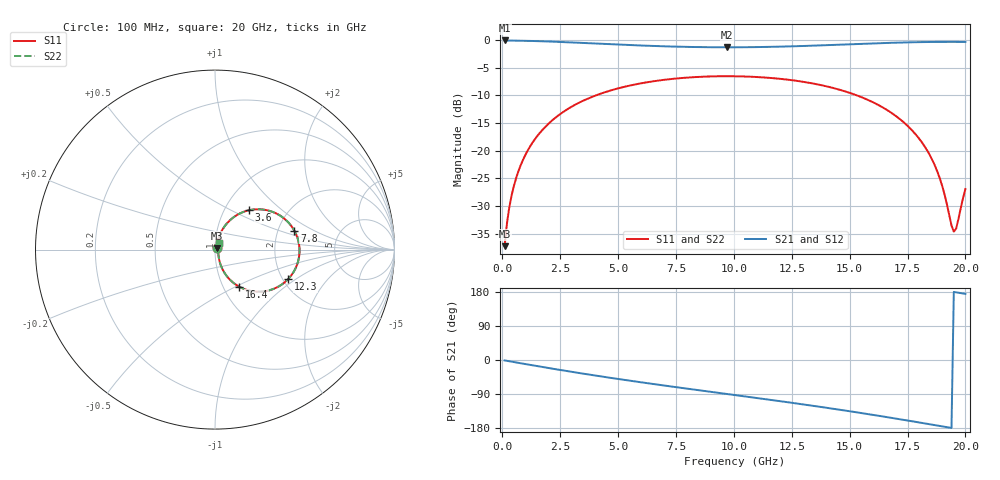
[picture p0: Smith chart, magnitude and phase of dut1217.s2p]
! Touchstone file exported from HFSS 2026.1.0
!  File:  C:/ffzhzh/LocalFiles/Ansys_Project_Files/temp_train_TSV_RDL_1217_1783320607_5512.aedt
!  Generated:  02:59:21 PM Jul  6, 2026
!  Design:  TSV_RDL
!  Project:  temp_train_TSV_RDL_1217_1783320607_5512
! Variables:
!  h_bsmrdl = 5.6um
!  h_ox = 20um
!  h_rdl = 5um
!  h_sub = 66.59um
!  h_tmrdl = 5.47um
!  h_tsv = 66.59um
!  h_via = 3um
!  l_bsmrdl = 706.01um
!  l_sub = 3226.93um
!  l_tmrdl = 142.29um
!  m_sub = 200um
!  pitch = 46.47um
!  r_tsv = 8.86um
!  s_tmrdl = 10um
!  w_bsmrdl = 20.69um
!  w_sub = 500um
!  w_tmrdl = 25.89um
!  x_tsv_center1 = 155.235um
!  x_tsv_center2 = 881.935um
!  x_tsv_center3 = 1050.115um
!  x_tsv_center4 = 1776.815um
!  x_tsv_center5 = 1944.995um
!  x_tsv_center6 = 2671.695um
# GHz S MA R 50.000000
! Terminal data exported
! Port[1] = TM_RDL1_1_T1
! Port[2] = TM_RDL5_1_T1
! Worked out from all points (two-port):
!   200 points, 100 MHz to 20 GHz, reference 50 ohm
!   highest |S21| = -0.08 dB at 100 MHz (marker M1); lowest = -1.3 dB at 9.7 GHz (marker M2)
!   |S21| within 3 dB of the highest: start of sweep to end of sweep
!   lowest |S11| = -37.2 dB at 100 MHz (marker M3), VSWR 1.03, Z = 51 + j0.996 ohm
!   |S11| at or under -10 dB: start of sweep to 4.048 GHz; 15.31 GHz to end of sweep
!   |S22| runs from -37.2 to -6.5 dB; largest |S21 - S12| = 5e-14
!   S11 on the Smith chart (normalised r, x): 100 MHz: 1.02, +0.02; 3.6 GHz: 1.30, +0.62; 7.8 GHz: 2.46, +0.66; 12.3 GHz: 2.13, -0.87; 16.4 GHz: 1.19, -0.53; 20 GHz: 1.04, +0.08
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0.1  0.01373 45.3  0.9905 -1.1  0.9905 -1.1  0.01373 45.3
! Gamma 0 0 0 0
! Port Impedance 50 0 50 0
0.3  0.03056 66.5  0.989 -3.3  0.989 -3.3  0.03056 66.5
0.5  0.04803 71.0  0.9876 -5.4  0.9876 -5.4  0.04803 71.0
0.8  0.0744 72.1  0.9852 -8.6  0.9852 -8.6  0.0744 72.1
1.1  0.1006 71.0  0.9822 -11.8  0.9822 -11.8  0.1006 70.9
2.1  0.1837 63.0  0.9677 -22.2  0.9677 -22.2  0.1837 63.0
3.5  0.2832 50.1  0.9401 -36.1  0.9401 -36.1  0.2832 50.1
3.6  0.2895 49.2  0.938 -37.1  0.938 -37.1  0.2895 49.2
6.8  0.4318 21.6  0.8793 -65.8  0.8793 -65.8  0.4318 21.6
7.8  0.4544 13.5  0.868 -74.1  0.868 -74.1  0.4544 13.5
9.7  0.471 -1.5  0.8591 -89.7  0.8591 -89.7  0.471 -1.5
10.1  0.4703 -4.6  0.8594 -93.0  0.8594 -93.0  0.4703 -4.6
12.3  0.4389 -22.1  0.8741 -111.2  0.8741 -111.2  0.4389 -22.1
13.4  0.4053 -31.2  0.8885 -120.7  0.8885 -120.7  0.4052 -31.2
16.4  0.2481 -56.7  0.9375 -148.6  0.9375 -148.6  0.248 -56.7
16.7  0.2273 -59.2  0.9419 -151.6  0.9419 -151.6  0.2272 -59.3
17.7  0.1525 -66.8  0.9541 -161.7  0.9541 -161.7  0.1524 -66.8
18.5  0.08826 -69.7  0.96 -169.9  0.96 -169.9  0.08821 -69.8
19  0.04793 -64.2  0.9617 -175.1  0.9617 -175.1  0.04787 -64.3
19.5  0.01859 -6.9  0.9617 179.7  0.9617 179.7  0.0185 -6.9
19.6  0.01978 17.6  0.9615 178.6  0.9615 178.6  0.01971 17.7
20  0.04506 58.6  0.9599 174.4  0.9599 174.4  0.04506 58.7
